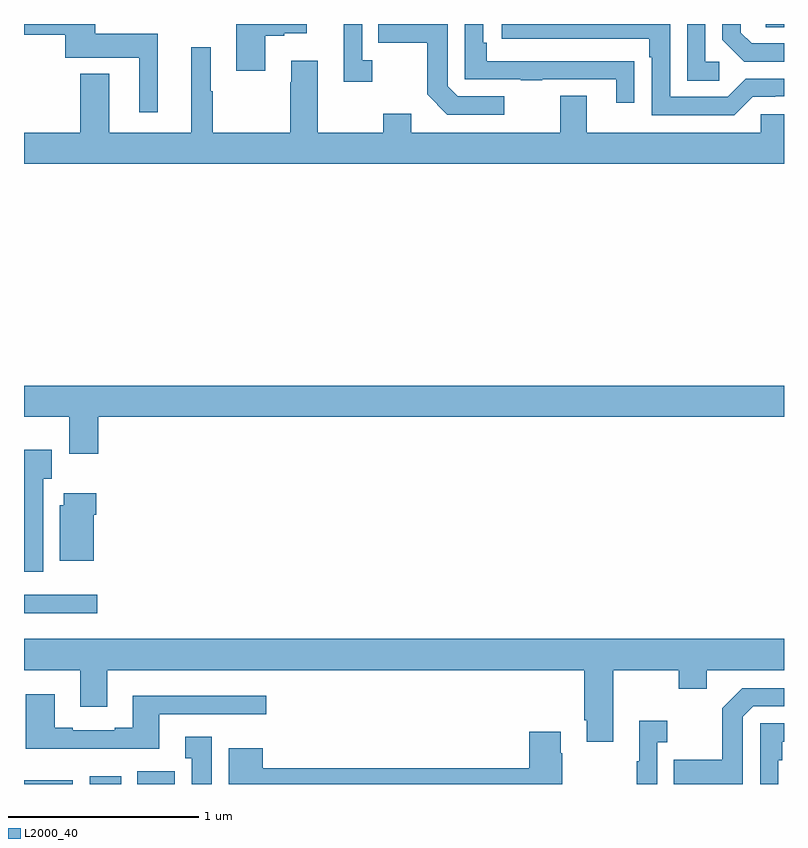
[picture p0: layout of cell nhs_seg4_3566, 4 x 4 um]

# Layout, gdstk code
import gdstk
lib = gdstk.Library(unit=1e-6, precision=1e-09)
def R(c, l, rs):  # rectangles x0, y0, x1, y1
    for r in rs: c.add(gdstk.rectangle(r[:2], r[2:], *l))
def P(c, l, *ps):  # polygons
    for p in ps: c.add(gdstk.Polygon(p, *l))
L2000_40 = (2000, 40)

nhs_seg4_3566 = lib.new_cell('nhs_seg4_3566')
R(nhs_seg4_3566, L2000_40, [(299,782.9,299.257,782.92), (299.345,782.9,299.512,782.941), (299.597,782.9,299.794,782.968), (299,783.8,299.386,783.897), (302.904,786.883,303,786.9)])
P(nhs_seg4_3566, L2000_40, [(302.213,786.704),(302.111,786.704),(302.111,786.705),(301.436,786.705),(301.436,786.802),(301.416,786.802),(301.416,786.9),(301.32,786.9),(301.32,786.609),(301.615,786.609),(301.615,786.604),(301.727,786.604),(301.727,786.609),(302.117,786.609),(302.117,786.486),(302.213,786.486)],
  [(303,786.798),(302.83,786.798),(302.773,786.855),(302.773,786.9),(302.676,786.9),(302.676,786.818),(302.792,786.702),(303,786.702)],
  [(300.271,786.839),(300.371,786.839),(300.371,786.851),(300.487,786.851),(300.487,786.9),(300.116,786.9),(300.116,786.654),(300.271,786.654)],
  [(302.659,786.702),(302.586,786.702),(302.586,786.9),(302.49,786.9),(302.49,786.601),(302.659,786.601)],
  [(301.528,786.519),(301.284,786.519),(301.23,786.573),(301.23,786.9),(300.865,786.9),(300.865,786.802),(301.122,786.802),(301.122,786.529),(301.227,786.423),(301.528,786.423)],
  [(299.704,786.85),(299.374,786.85),(299.374,786.9),(299,786.9),(299,786.844),(299.216,786.844),(299.216,786.722),(299.606,786.722),(299.606,786.435),(299.704,786.435)],
  [(300.832,786.71),(300.78,786.71),(300.78,786.9),(300.683,786.9),(300.683,786.597),(300.832,786.597)],
  [(302.835,786.516),(302.954,786.516),(302.954,786.519),(303,786.519),(303,786.612),(302.799,786.612),(302.703,786.516),(302.4,786.516),(302.4,786.9),(301.515,786.9),(301.515,786.822),(302.291,786.822),(302.291,786.725),(302.304,786.725),(302.304,786.42),(302.739,786.42)],
  [(303,786.426),(302.877,786.426),(302.877,786.328),(301.963,786.328),(301.963,786.523),(301.823,786.523),(301.823,786.328),(301.039,786.328),(301.039,786.427),(300.892,786.427),(300.892,786.328),(300.547,786.328),(300.547,786.706),(300.407,786.706),(300.407,786.593),(300.4,786.593),(300.4,786.328),(299.993,786.328),(299.993,786.545),(299.983,786.545),(299.983,786.778),(299.879,786.778),(299.879,786.328),(299.449,786.328),(299.449,786.637),(299.297,786.637),(299.297,786.328),(299,786.328),(299,786.164),(303,786.164)],
  [(299.39,784.832),(303,784.832),(303,784.996),(299,784.996),(299,784.832),(299.237,784.832),(299.237,784.638),(299.39,784.638)],
  [(299.101,784.506),(299.146,784.506),(299.146,784.66),(299,784.66),(299,784.017),(299.101,784.017)],
  [(299.368,784.316),(299.381,784.316),(299.381,784.429),(299.21,784.429),(299.21,784.368),(299.189,784.368),(299.189,784.076),(299.368,784.076)],
  [(302.101,783.5),(302.446,783.5),(302.446,783.401),(302.593,783.401),(302.593,783.5),(303,783.5),(303,783.664),(299,783.664),(299,783.5),(299.297,783.5),(299.297,783.306),(299.437,783.306),(299.437,783.5),(301.949,783.5),(301.949,783.235),(301.961,783.235),(301.961,783.123),(302.101,783.123)],
  [(302.784,783.255),(302.838,783.309),(303,783.309),(303,783.405),(302.781,783.405),(302.676,783.299),(302.676,783.027),(302.419,783.027),(302.419,782.9),(302.784,782.9)],
  [(299.713,783.267),(300.274,783.267),(300.274,783.364),(299.573,783.364),(299.573,783.196),(299.477,783.196),(299.477,783.183),(299.257,783.183),(299.257,783.196),(299.161,783.196),(299.161,783.373),(299.009,783.373),(299.009,783.086),(299.713,783.086)],
  [(302.334,783.119),(302.386,783.119),(302.386,783.232),(302.237,783.232),(302.237,783.019),(302.226,783.019),(302.226,782.9),(302.334,782.9)],
  [(302.97,783.026),(302.99,783.026),(302.99,783.123),(303,783.123),(303,783.219),(302.874,783.219),(302.874,782.9),(302.97,782.9)],
  [(301.833,783.062),(301.825,783.062),(301.825,783.175),(301.658,783.175),(301.658,782.984),(300.256,782.984),(300.256,783.088),(300.077,783.088),(300.077,782.9),(301.833,782.9)],
  [(299.989,783.148),(299.849,783.148),(299.849,783.035),(299.882,783.035),(299.882,782.9),(299.989,782.9)])

lib.write_gds('nhs_seg4_3566.gds')
